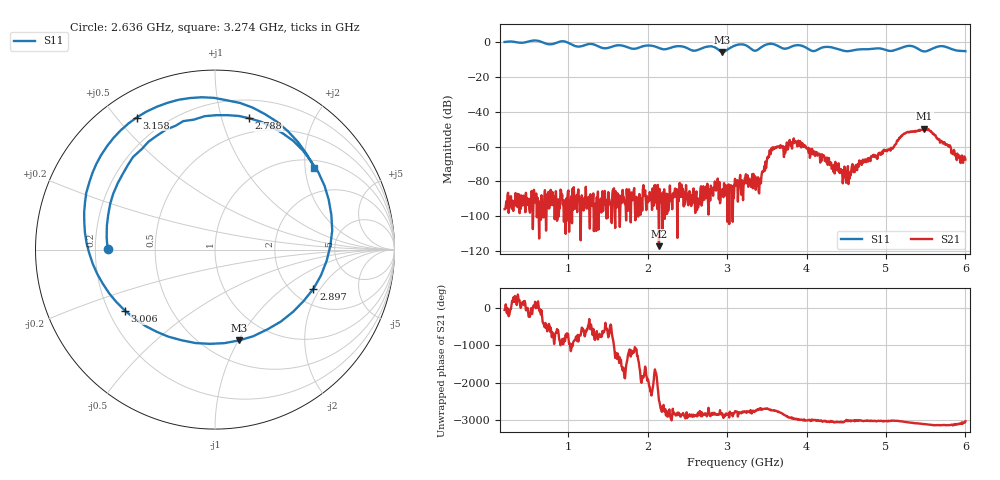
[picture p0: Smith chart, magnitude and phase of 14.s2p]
! NanoVNA-App by OneOfEleven et al v1.1.209 (+OD15)
! Date: 2024-07-30 15:18:10
! Start: 200MHz Stop: 6GHz Points: 801
! S-Parameter data: F S11 S21 S12 S22
# Hz S RI R 50
!  Frequency  S11_Real  S11_Imag  S21_Real  S21_Imag  S12_Real  S12_Imag  S22_Real  S22_Imag
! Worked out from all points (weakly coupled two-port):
!   801 points, 200 MHz to 6 GHz, reference 50 ohm
!   highest |S21| = -49.83 dB at 5.485 GHz (marker M1); lowest = -117.2 dB at 2.143 GHz (marker M2)
!   lowest |S11| = -5.6 dB at 2.941 GHz (marker M3), VSWR 3.20, Z = 36.1 - j50.3 ohm
!   |S11| at or under -10 dB: nowhere
!   S12 and S22 are empty: the file has one direction only
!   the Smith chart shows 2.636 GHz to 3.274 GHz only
!   S11 on the Smith chart (normalised r, x): 2.636 GHz: 0.25, +0.00; 2.788 GHz: 0.36, +1.23; 2.897 GHz: 2.59, -1.74; 3.006 GHz: 0.27, -0.29; 3.158 GHz: 0.10, +0.56; 3.274 GHz: 1.19, +2.24
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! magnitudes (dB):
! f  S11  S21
! 200 MHz  0.0  -96.0
! 1.171 GHz  -2.4  -88.0
! 2.136 GHz  -3.2  -90.2
! 2.143 GHz  -3.4  -117.2
! 2.636 GHz  -4.5  -94.9
! 2.788 GHz  -2.4  -91.0
! 2.897 GHz  -4.6  -90.3
! 2.941 GHz  -5.6  -84.5
! 3.006 GHz  -4.4  -103.3
! 3.1 GHz  -2.0  -78.6
! 3.158 GHz  -1.4  -79.2
! 3.274 GHz  -2.9  -80.4
! 3.405 GHz  -3.9  -86.9
! 3.586 GHz  -1.2  -60.5
! 3.869 GHz  -1.8  -57.1
! 4.072 GHz  -5.1  -61.4
! 4.528 GHz  -5.2  -81.6
! 5.036 GHz  -5.0  -61.8
! 5.246 GHz  -2.5  -52.2
! 5.485 GHz  -5.4  -49.8
! 5.696 GHz  -2.3  -56.7
! 6 GHz  -5.2  -67.5
